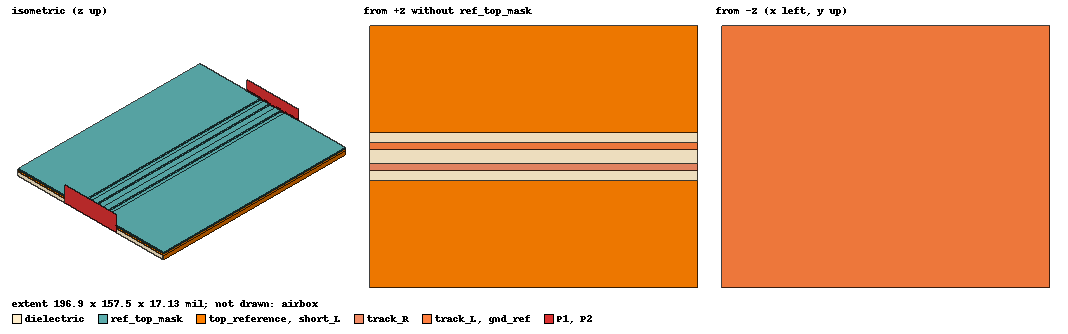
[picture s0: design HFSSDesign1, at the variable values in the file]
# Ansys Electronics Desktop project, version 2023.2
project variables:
  $model_W = 4mm
  $model_L = 5mm
  $dielectric_thickness = 100um
  $top_copper_thickness = 45um
  $track_pitch = 12.226mil
  $track_width = 4mil
  $coplanar_gap = 6mil
  $port_W_ratio = 2
  $port_W = $port_W_ratio * ($track_pitch + $track_width + 2*$coplanar_gap)
  $port_H_ratio = 3
  $port_H = $port_H_ratio * ($dielectric_thickness + $top_copper_thickness)
  $airbox_clearance = 100um
  $total_lane_L = 50mm
  $top_copper_mask_thickness = 25um
  $laminate_mask_thickness = 50um
  $mask_Dk = 4.6
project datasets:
  $Dk_Dielectric: units GHz, : (1000000000, 3.46) (13000000000, 3.39) (24000000000, 3.39) (35000000000, 3.39) (46000000000, 3.39) (56000000000, 3.39)
  $Df_Dielectric: units GHz, : (1000000000, 0.002) (13000000000, 0.0044) (24000000000, 0.0049) (35000000000, 0.0053) (46000000000, 0.0056) (56000000000, 0.0059)
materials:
  vacuum: permittivity=1
  Rogers RO4003 (tm): permittivity=3.55 dielectric_loss_tangent=0.0027
  copper: permeability=0.999991 conductivity=58000000
  air: permittivity=1.0006 permeability=1.0000004
  SolderMask: permittivity=$mask_Dk dielectric_loss_tangent=0.035
  Megtron6_1035_Laminate: permittivity=pwl($Dk_Dielectric,Freq) dielectric_loss_tangent=pwl($Df_Dielectric,Freq)

design HFSSDesign1 (HFSS, HFSS Terminal Network, model units mil)
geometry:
  dielectric [Megtron6_1035_Laminate] = box(corner=(0mil, -$model_W/2, 0mil), size=($model_L, $model_W, $dielectric_thickness))
  top_reference [copper] = box(corner=(0mil, -$model_W/2, $dielectric_thickness), size=($model_L, $model_W, $top_copper_thickness))
  gnd_ref = rectangle(corner=(0mil, -$model_W/2, 0), x_size=$model_L, y_size=$model_W)
  lane_bed = box(corner=(0mil, -$track_pitch/2 -$track_width/2 -$coplanar_gap, $dielectric_thickness), size=($model_L, $track_pitch + $track_width +2*$coplanar_gap, $top_copper_thickness))
  top_reference.subtract(lane_bed)
  track_R [copper] = box(corner=(0mil, -$track_pitch/2 -$track_width/2, $dielectric_thickness), size=($model_L, $track_width, $top_copper_thickness))
  track_L [copper] = box(corner=(0mil, $track_pitch/2 - $track_width/2, $dielectric_thickness), size=($model_L, $track_width, $top_copper_thickness))
  airbox [air] = box(corner=(0mil, -$model_W/2 - $airbox_clearance/2, -$airbox_clearance), size=($model_L, $model_W + $airbox_clearance, 157.48031mil))
  P1 = rectangle(corner=(0mil, -$port_W/2, 0mil), y_size=$port_W, z_size=$port_H)
  P2 = rectangle(corner=($model_L, -$port_W/2, 0mil), y_size=$port_W, z_size=$port_H)
  int_line_P2 = polyline(($model_L, 0mil, $dielectric_thickness) ($model_L, 0mil, 0mil))
  Polyline1 = polyline((0, 0mil, $dielectric_thickness) (0mil, 0mil, 0mil))
  short_L = rectangle(corner=(0mil, $model_W/2, 0mil), z_size=$dielectric_thickness, x_size=$model_L)
  short_R = rectangle(corner=(0mil, -$model_W/2, 0mil), z_size=$dielectric_thickness, x_size=$model_L)
  ref_top_mask [SolderMask] = box(corner=(0mil, -$model_W/2, $dielectric_thickness + $top_copper_thickness), size=($model_L, $model_W/2 - ($track_pitch/2 + $track_width/2 + $coplanar_gap), $top_copper_mask_thickness))
  laminate_mask = box(corner=(0mil, -$track_pitch/2 -$track_width/2 - $coplanar_gap + $top_copper_mask_thickness, $dielectric_thickness), size=($model_L, $coplanar_gap - 2*$top_copper_mask_thickness, $laminate_mask_thickness))
  track_top_mask = box(corner=(0mil, -$track_pitch/2 - $track_width/2, $dielectric_thickness + $top_copper_thickness), size=($model_L, $track_width, $top_copper_mask_thickness))
  laminate_mask_between_tracks = box(corner=(0mil, -$track_pitch/2 + $track_width/2 + $top_copper_mask_thickness, $dielectric_thickness), size=($model_L, ($track_pitch - $track_width)/2 - $top_copper_mask_thickness, $laminate_mask_thickness))
  ref_side_mask = box(corner=(0mil, -$track_pitch/2 -$track_width/2 -$coplanar_gap, $dielectric_thickness), size=($model_L, $top_copper_mask_thickness, $top_copper_mask_thickness + $top_copper_thickness))
  track_R_mask = ref_side_mask.duplicate_along_line(step=(0mil, $coplanar_gap -$top_copper_mask_thickness, 0mil), total=2)
  track_L_mask = track_R_mask.duplicate_along_line(step=(0mil, $track_width + $top_copper_mask_thickness, 0mil), total=2)
  laminate_mask_1 = laminate_mask.duplicate_mirror(point=(196.85039mil, 0mil, 11.811024mil), normal=(0mil, 39.370079mil, 0mil))
  ref_side_mask_1 = ref_side_mask.duplicate_mirror(point=(196.85039mil, 0mil, 11.811024mil), normal=(0mil, 39.370079mil, 0mil))
  ref_top_mask_1 = ref_top_mask.duplicate_mirror(point=(196.85039mil, 0mil, 11.811024mil), normal=(0mil, 39.370079mil, 0mil))
  track_R_mask_1 = track_R_mask.duplicate_mirror(point=(196.85039mil, 0mil, 11.811024mil), normal=(0mil, 39.370079mil, 0mil))
  track_top_mask_1 = track_top_mask.duplicate_mirror(point=(196.85039mil, 0mil, 11.811024mil), normal=(0mil, 39.370079mil, 0mil))
  laminate_mask_between_tracks_1 = laminate_mask_between_tracks.duplicate_mirror(point=(196.85039mil, 0mil, 11.811024mil), normal=(0mil, 39.370079mil, 0mil))
  track_L_mask_1 = track_L_mask.duplicate_mirror(point=(196.85039mil, 0mil, 11.811024mil), normal=(0mil, 39.370079mil, 0mil))
  ref_top_mask.unite(ref_side_mask, laminate_mask, track_top_mask, track_R_mask, track_L_mask, laminate_mask_between_tracks, laminate_mask_between_tracks_1, track_top_mask_1, track_L_mask_1, track_R_mask_1, laminate_mask_1, ref_side_mask_1, ref_top_mask_1)
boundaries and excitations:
  ref_GND: Finite Conductivity Objects=gnd_ref UseMaterial Material=copper Thickness=17.5 IsInternal
  airbox: Radiation Objects=airbox
  short_R: Lumped RLC Objects=short_R CurrentLine{(0, -78.740157, 3.9370079) -> (0, -78.740157, 0)} RLC_Type=Parallel Resistance=0ohm
  short_L: Lumped RLC Objects=short_L CurrentLine{(0, 78.740157, 3.9370079) -> (0, 78.740157, 0)} RLC_Type=Parallel Resistance=0ohm
  track_R_T1: Terminal port=P1 Faces=track_R.face(-x) TerminalResistance=50ohm
  track_L_T1: Terminal port=P1 Faces=track_L.face(-x) TerminalResistance=50ohm
  track_R_T2: Terminal port=P2 Faces=track_R.face(+x) TerminalResistance=50ohm
  track_L_T2: Terminal port=P2 Faces=track_L.face(+x) TerminalResistance=50ohm
  P1: Wave Port Faces=P1.face WavePortType=Terminal NumModes=1 DeembedDist="-($total_lane_L/2 - $model_L/2)"
  P2: Wave Port Faces=P2.face WavePortType=Terminal NumModes=1 DeembedDist="-($total_lane_L/2 - $model_L/2)"
  reference conductors: gnd_ref, top_reference
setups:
  Setup1: HfssDriven Frequency=20GHz MaxDeltaS=0.002 MaximumPasses=30 MinimumPasses=1 MinimumConvergedPasses=1 PercentRefinement=30 BasisOrder=1 PortAccuracy=0.1 DrivenSolverType="Direct Solver"
    sweep Sweep: 1GHz to 20GHz, 100 points; Type=Discrete
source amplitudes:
  P1:1: 1V 0deg
  P1:2: 1V 180deg
  P2:1, P2:2: 0V 0deg
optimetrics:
  ParametricSetup1: Parametric Sim._Setups=[Setup1]
    sweep $track_pitch: 12.226mil 12.126mil 12.026mil
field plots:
  Mesh1, Mesh2: MeshPlots over P1.face on Setup1 : LastAdaptive at Freq=20GHz Phase=0deg
  Mag_E1: E Field in dielectric on Setup1 : LastAdaptive at Freq=20GHz Phase=0deg
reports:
  Terminal S Parameter Plot 1: dB(St(Diff1,Diff1)) vs Freq on Setup1 : Sweep [$track_pitch=all $port_W_ratio=all]
